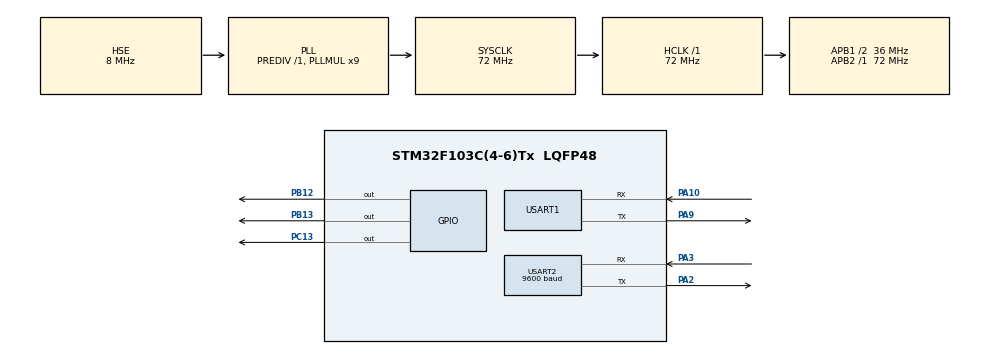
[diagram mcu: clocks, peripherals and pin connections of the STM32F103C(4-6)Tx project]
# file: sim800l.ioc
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Dma.Request0=USART2_TX
Dma.Request1=USART2_RX
Dma.Request2=USART1_RX
Dma.Request3=USART1_TX
Dma.USART1_RX.2.Direction=DMA_PERIPH_TO_MEMORY
Dma.USART1_RX.2.Instance=DMA1_Channel5
Dma.USART1_RX.2.MemDataAlignment=DMA_MDATAALIGN_BYTE
Dma.USART1_RX.2.MemInc=DMA_MINC_ENABLE
Dma.USART1_RX.2.Mode=DMA_NORMAL
Dma.USART1_RX.2.PeriphDataAlignment=DMA_PDATAALIGN_BYTE
Dma.USART1_RX.2.PeriphInc=DMA_PINC_DISABLE
Dma.USART1_RX.2.Priority=DMA_PRIORITY_LOW
Dma.USART1_TX.3.Direction=DMA_MEMORY_TO_PERIPH
Dma.USART1_TX.3.Instance=DMA1_Channel4
Dma.USART1_TX.3.MemDataAlignment=DMA_MDATAALIGN_BYTE
Dma.USART1_TX.3.MemInc=DMA_MINC_ENABLE
Dma.USART1_TX.3.Mode=DMA_NORMAL
Dma.USART1_TX.3.PeriphDataAlignment=DMA_PDATAALIGN_BYTE
Dma.USART1_TX.3.PeriphInc=DMA_PINC_DISABLE
Dma.USART1_TX.3.Priority=DMA_PRIORITY_LOW
Dma.USART2_RX.1.Direction=DMA_PERIPH_TO_MEMORY
Dma.USART2_RX.1.Instance=DMA1_Channel6
Dma.USART2_RX.1.MemDataAlignment=DMA_MDATAALIGN_BYTE
Dma.USART2_RX.1.MemInc=DMA_MINC_ENABLE
Dma.USART2_RX.1.Mode=DMA_NORMAL
Dma.USART2_RX.1.PeriphDataAlignment=DMA_PDATAALIGN_BYTE
Dma.USART2_RX.1.PeriphInc=DMA_PINC_DISABLE
Dma.USART2_RX.1.Priority=DMA_PRIORITY_LOW
Dma.USART2_TX.0.Direction=DMA_MEMORY_TO_PERIPH
Dma.USART2_TX.0.Instance=DMA1_Channel7
Dma.USART2_TX.0.MemDataAlignment=DMA_MDATAALIGN_BYTE
Dma.USART2_TX.0.MemInc=DMA_MINC_ENABLE
Dma.USART2_TX.0.Mode=DMA_NORMAL
Dma.USART2_TX.0.PeriphDataAlignment=DMA_PDATAALIGN_BYTE
Dma.USART2_TX.0.PeriphInc=DMA_PINC_DISABLE
Dma.USART2_TX.0.Priority=DMA_PRIORITY_LOW
Mcu.Family=STM32F1
Mcu.Name=STM32F103C(4-6)Tx
Mcu.Package=LQFP48
NVIC.DMA1_Channel4_IRQn=true\:0\:0\:false\:false\:true\:false\:true\:true
NVIC.DMA1_Channel5_IRQn=true\:0\:0\:false\:false\:true\:false\:true\:true
NVIC.DMA1_Channel6_IRQn=true\:0\:0\:false\:false\:true\:false\:true\:true
NVIC.DMA1_Channel7_IRQn=true\:0\:0\:false\:false\:true\:false\:true\:true
NVIC.PriorityGroup=NVIC_PRIORITYGROUP_4
NVIC.USART1_IRQn=true\:0\:0\:false\:false\:true\:true\:true\:true
NVIC.USART2_IRQn=true\:0\:0\:false\:false\:true\:true\:true\:true
PA10.Mode=Asynchronous
PA10.Signal=USART1_RX
PA13.Mode=Serial_Wire
PA13.Signal=SYS_JTMS-SWDIO
PA14.Mode=Serial_Wire
PA14.Signal=SYS_JTCK-SWCLK
PA2.Mode=Asynchronous
PA2.Signal=USART2_TX
PA3.Mode=Asynchronous
PA3.Signal=USART2_RX
PA9.Mode=Asynchronous
PA9.Signal=USART1_TX
PB12.GPIO_PuPd=GPIO_PULLDOWN
PB12.GPIO_Speed=GPIO_SPEED_FREQ_HIGH
PB12.Signal=GPIO_Output
PB13.GPIO_PuPd=GPIO_PULLDOWN
PB13.GPIO_Speed=GPIO_SPEED_FREQ_HIGH
PB13.Signal=GPIO_Output
PC13-TAMPER-RTC.GPIO_PuPd=GPIO_PULLDOWN
PC13-TAMPER-RTC.GPIO_Speed=GPIO_SPEED_FREQ_HIGH
PC13-TAMPER-RTC.Signal=GPIO_Output
PD0-OSC_IN.Mode=HSE-External-Oscillator
PD0-OSC_IN.Signal=RCC_OSC_IN
PD1-OSC_OUT.Mode=HSE-External-Oscillator
PD1-OSC_OUT.Signal=RCC_OSC_OUT
ProjectManager.HeapSize=0x200
ProjectManager.StackSize=0x400
ProjectManager.TargetToolchain=STM32CubeIDE
RCC.AHBFreq_Value=72000000
RCC.APB1CLKDivider=RCC_HCLK_DIV2
RCC.APB1Freq_Value=36000000
RCC.APB1TimFreq_Value=72000000
RCC.APB2Freq_Value=72000000
RCC.APB2TimFreq_Value=72000000
RCC.HCLKFreq_Value=72000000
RCC.PLLMUL=RCC_PLL_MUL9
RCC.PLLSourceVirtual=RCC_PLLSOURCE_HSE
RCC.SYSCLKFreq_VALUE=72000000
RCC.SYSCLKSource=RCC_SYSCLKSOURCE_PLLCLK
RCC.USBFreq_Value=72000000
USART1.VirtualMode=VM_ASYNC
USART2.BaudRate=9600
USART2.VirtualMode=VM_ASYNC
board=custom

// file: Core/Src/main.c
/* USER CODE BEGIN Header */
/**
  ******************************************************************************
  * @file           : main.c
  * @brief          : Main program body
  ******************************************************************************
  * @attention
  *
  * Copyright (c) 2024 STMicroelectronics.
  * All rights reserved.
  *
  * This software is licensed under terms that can be found in the LICENSE file
  * in the root directory of this software component.
  * If no LICENSE file comes with this software, it is provided AS-IS.
  *
  ******************************************************************************
  */
/* USER CODE END Header */
#include "main.h"

/* USER CODE BEGIN Includes */
//#include "cJSON.h"
//#include "ssd1306.h"
#include <stdio.h>
#include <stdbool.h>
#include <string.h>
uint8_t str[3]={"0"};
uint8_t str2[3]={"0"};
uint32_t timeRepeat = 0;
int stopStep = 0;
/* USER CODE END Includes */

UART_HandleTypeDef huart1;
UART_HandleTypeDef huart2;
DMA_HandleTypeDef hdma_usart1_rx;
DMA_HandleTypeDef hdma_usart1_tx;
DMA_HandleTypeDef hdma_usart2_tx;
DMA_HandleTypeDef hdma_usart2_rx;

void SystemClock_Config(void);
static void MX_GPIO_Init(void);
static void MX_DMA_Init(void);
static void MX_USART1_UART_Init(void);
static void MX_USART2_UART_Init(void);
/* USER CODE BEGIN PFP */
uint8_t modemString2[250];
int modemStringLength2 = 0;
uint8_t modemString1[250];
int modemStringLength1 = 0;
bool modemEndMess = false;
uint8_t oldModem[250];
uint8_t oldModem2[250];
uint8_t oldModem3[250];
uint8_t oldModem4[250];
uint8_t smsNum[6];
uint8_t unreedSms[15] = {0};
uint8_t smsText[250] = "Hello";
uint8_t csqlvl[5]="99";
uint8_t tnumber1[15] = "77777777777";
uint8_t tnumber2[15] = "77777777777";
uint8_t tnumber3[15] = "77777777777";
uint8_t backNumber[15] = "77777777777";
uint16_t *idBase0 = (uint16_t*)(UID_BASE);
uint16_t *idBase1 = (uint16_t*)(UID_BASE + 0x02);
uint32_t *idBase2 = (uint32_t*)(UID_BASE + 0x04);
uint32_t *idBase3 = (uint32_t*)(UID_BASE + 0x08);
uint8_t unicID[64] = {0,};
int step=0, rxNew = false;
bool ready=false;
bool answ = false, checkPhones = true, echoMode = false, errTransmit = false;
uint8_t bat[8];
bool needStart = false, needOpen = false, needClose = false, delayAnsw = false;
uint32_t timeOfStart = 0;
uint32_t timeRepeatTotal = 10*60*1000;

/* USER CODE END PFP */

/* USER CODE BEGIN 0 */

void s800LSend(uint8_t *text, int nums) {
	HAL_UART_Transmit(&huart2, text, nums, 0xFFFF);
	HAL_UART_Transmit(&huart2, (uint8_t*)"\r\n", 2, 0xFFFF);
	if (echoMode) {
		HAL_UART_Transmit(&huart1, text, nums, 0xFFFF);
		HAL_UART_Transmit(&huart1, (uint8_t*)"\r\n", 2, 0xFFFF);
	}
	return;
}

int s800lMessAdd(uint8_t* text) {
	int i = 0;
	for (i; i<250; i++) {
		if (text[i]=='!') return i;
	}
}

void buttStart() {
	HAL_GPIO_WritePin(GPIOC, GPIO_PIN_13, 0);
	HAL_GPIO_WritePin(GPIOB, GPIO_PIN_13, 0);
	HAL_Delay(3000);
	HAL_GPIO_WritePin(GPIOC, GPIO_PIN_13, 1);
	HAL_GPIO_WritePin(GPIOB, GPIO_PIN_13, 1);
}

void buttOpen() {
	HAL_GPIO_WritePin(GPIOC, GPIO_PIN_13, 0);
	for (int i = 0; i<5; i++) {
		HAL_GPIO_WritePin(GPIOC, GPIO_PIN_13, 0);
		HAL_Delay(100);
		HAL_GPIO_WritePin(GPIOC, GPIO_PIN_13, 1);
		HAL_Delay(100);
	}
	HAL_GPIO_WritePin(GPIOC, GPIO_PIN_13, 1);
	HAL_GPIO_WritePin(GPIOB, GPIO_PIN_13, 1);
}

void buttClose() {
	HAL_GPIO_WritePin(GPIOC, GPIO_PIN_12, 0);
	for (int i = 0; i<3; i++) {
		HAL_GPIO_WritePin(GPIOC, GPIO_PIN_13, 0);
		HAL_Delay(250);
		HAL_GPIO_WritePin(GPIOC, GPIO_PIN_13, 1);
		HAL_Delay(250);
	}
	HAL_GPIO_WritePin(GPIOC, GPIO_PIN_13, 1);
	HAL_GPIO_WritePin(GPIOB, GPIO_PIN_12, 1);
}

void txATcommand() {
	//HAL_Delay(500);
	switch (step) {
		case 0: {
			ready=false;
			s800LSend((uint8_t*)"ATE0", 4);
			HAL_UART_Transmit(&huart1, "start update\r\n", 14, 0xFFFF);
			break;
		}
		case 1: {
			ready=false;
			s800LSend((uint8_t*)"AT+CSQ", 6);
			break;
		}
		case 2: {
			ready=false;
			s800LSend((uint8_t*)"AT+CBC", 6);
			break;
		}
		case 3: {
			ready=false;
			s800LSend((uint8_t*)"AT+CREG?", 8);
			break;
		}
		case 4: {
			ready=false;
			s800LSend((uint8_t*)"AT+SAPBR=1,1", 12);
			HAL_Delay(2000);
			break;
		}
		case 5: {
			ready=false;
			s800LSend((uint8_t*)"AT+HTTPINIT", 11);
			break;
		}
		case 6: {
			ready=false;
			s800LSend((uint8_t*)"AT+HTTPPARA=\"CID\",1",19);
			break;
		}
		case 7: {
			ready=false;
			bat[7]=0;
			uint8_t ext[250];
			if ((answ)||(delayAnsw))
				sprintf(ext, "AT+HTTPPARA=\"URL\",\"http://simple.spamigor.ru/api/gst?csq=%s&bat=%s&mes=%s&id=%s\"", csqlvl, bat, smsText, unicID);
			else if (!checkPhones)
				sprintf(ext, "AT+HTTPPARA=\"URL\",\"http://simple.spamigor.ru/api/gst?csq=%s&bat=%s&id=%s\"", csqlvl, bat, unicID);
			else sprintf(ext, "AT+HTTPPARA=\"URL\",\"http://simple.spamigor.ru/api/phn?id=%s\"", unicID);
			delayAnsw = false;
			s800LSend(ext, strlen(ext));
			break;
		}
		case 8: {
			ready=false;
			s800LSend((uint8_t*)"AT+HTTPACTION=0",15);
			break;
		}
		case 9: {
			ready=false;
			s800LSend((uint8_t*)"AT+HTTPREAD",11);
			break;
		}
		case 10: {
			ready=false;
			s800LSend((uint8_t*)"AT+HTTPTERM",11);
			break;
		}
		case 11: {
			ready=false;
			s800LSend((uint8_t*)"AT+SAPBR=0,1", 12);
			break;
		}
		case 20: {
			ready = false;
			s800LSend((uint8_t*)"AT+CMGF=1", 9);
			break;
		}
		case 21: {
			ready=false;
			uint8_t ext[15];
			uint8_t at[] = "AT+CMGR=";
			snprintf(ext, 15, "%s%s", at, smsNum);
			s800LSend(ext, s800lMessAdd(ext));
			break;
		}
		case 22: {
			ready = false;
			s800LSend((uint8_t*)"AT+CMGDA=\"DEL ALL\"", 18);
			break;
		}
		case 23: {
			step=24;
			ready = true;
			uint8_t ext[23] = {0};
			sprintf(ext, "AT+CMGS=\"+%s\"", backNumber);
			s800LSend(ext, 22);
			break;
		}
		case 24: {
			ready = false;
			step=24;
			uint8_t ggg[20];
			sprintf(ggg, "%s%c", smsText, (uint8_t)0x1A);
			s800LSend(ggg, strlen(ggg));
			break;
		}
		case 99: {
			ready = true;
			s800LSend((uint8_t*)"AT+CFUN=1,1", 22);
			break;
		}
	}
	return;
}

void rxATcommand(uint8_t* text) {
	switch (step) {
		case 0: {
			if (strstr((char*)text, (char*)"OK")) {
				step++;
				ready=true;
			}
			else if (strstr((char*)text, (char*)"CMTI")) {
				step=20;
				ready=true;
			}
			else {
				step=0;
				ready=true;
			}
			break;
		}
		case 1: {
			if (strstr((char*)oldModem3, (char*)"CSQ")) {
				csqlvl[0]=oldModem3[6];
				csqlvl[1]=oldModem3[7];
				step++;
			}
			ready=true;
			break;
		}
		case 2: {
			if (strstr((char*)oldModem3, (char*)"CBC")) {
				bat[0]=oldModem3[8];
				bat[1]=oldModem3[9];
				bat[2]=oldModem3[10];
				bat[3]=oldModem3[11];
				bat[4]=oldModem3[12];
				bat[5]=oldModem3[13];
				bat[6]=oldModem3[14];
				bat[7]=oldModem3[15];
				step++;
			}
			ready=true;
			break;
		}
		case 3: {
			if (strstr((char*)oldModem3, (char*)"0,1")) step++;
			ready=true;
			break;
		}
		case 4: {
			if (strstr((char*)text, (char*)"OK")) step++;
			else if (strstr((char*)text, (char*)"ERROR")) {
				step=10;
				errTransmit = true;
			}
			ready=true;
			break;
		}
		case 5: {
			if (strstr((char*)text, (char*)"OK")) step++;
			else if (strstr((char*)text, (char*)"ERROR")) {
				step=10;
				errTransmit = true;
			}
			ready=true;
			break;
		}
		case 6: {
			if (strstr((char*)text, (char*)"OK")) step++;
			else {
				step=10;
				errTransmit = true;
			}
			ready=true;
			break;
		}
		case 7: {
			if (strstr((char*)text, (char*)"OK")) step++;
			else {
				step=10;
				errTransmit = true;
			}
			ready=true;
			break;
		}
		case 8: {
			ready=true;
			if (strstr((char*)text, (char*)"200")) step++;
			else if (strstr((char*)text, (char*)"0,60")) step=99;
			else if ((strstr((char*)text, (char*)"0,40"))||
					(strstr((char*)text, (char*)"0,50"))) {
				step=10;
				errTransmit = true;
			}
			else ready=false;
			break;
		}
		case 9: {
			if (!answ) {
				if (strstr((char*)text, (char*)"OK")) {
					if (checkPhones) {
						if (strstr((char*)oldModem2, (char*)"t1"))
							for (int i = 0; i<11; i++) tnumber1[i] = oldModem2[i+7];
						if (strstr((char*)oldModem2, (char*)"t2"))
							for (int i = 0; i<11; i++) tnumber2[i] = oldModem2[i+26];
						if (strstr((char*)oldModem2, (char*)"t3"))
							for (int i = 0; i<11; i++) tnumber3[i] = oldModem2[i+45];
						checkPhones = false;
					}
					else if (strstr((char*)oldModem2, "phones")) {
						checkPhones = true;
						answ = false;
					}
					else if (strstr((char*)oldModem2, "res")) {
						needStart = false;
						needOpen = false;
						needClose = false;
						if (strstr((char*)oldModem2, ",\"delT\":")) {
						    uint8_t *start;
						    uint8_t *end;
						    uint8_t str1 [8]=",\"res\"";
						    uint8_t str2 [8]="\"delT\":";
						    start = strstr (oldModem2,str2);
						    end = strstr (oldModem2,str1);
						    uint8_t delTime[10] = {0};
							int j = 0;
							for (int i = (start-oldModem2)+7; i<(end-oldModem2); i++) {
								delTime[j]=oldModem2[i];
								j++;
							}
							timeOfStart = atoi(delTime);
						}
						if (oldModem2[6]=='t') {
							memset(smsText, 0, strlen(smsText));
							if (timeOfStart==0) {
								buttStart();
								answ = false;
								strcpy(smsText, (uint8_t*)"%D0%97%D0%B0%D0%BF%D1%83%D1%81%D0%BA");
							}
							else {
								if (!needStart) strcpy(smsText, (uint8_t*)"%D0%97%D0%B0%D0%BF%D1%83%D1%81%D1%82%D0%B8%D1%82%D1%8C%20%D0%BF%D0%BE%D0%B7%D0%B6%D0%B5");
								needStart = true;
								needOpen = false;
								needClose = false;
								answ = true;
							}
						}
						else if (oldModem2[17]=='t') {
							memset(smsText, 0, strlen(smsText));
							if (timeOfStart==0) {
								buttOpen();
								answ = false;
								strcpy(smsText, (uint8_t*)"%D0%9E%D1%82%D0%BA%D1%80%D1%8B%D1%82%D1%8C");
							}
							else {
								if (!needOpen) strcpy(smsText, (uint8_t*)"%D0%9E%D1%82%D0%BA%D1%80%D1%8B%D1%82%D1%8C%20%D0%BF%D0%BE%D0%B7%D0%B6%D0%B5");
								needStart = false;
								needOpen = true;
								needClose = false;
								answ = true;
							}
						}
						else if (oldModem2[28]=='t') {
							memset(smsText, 0, strlen(smsText));
							if (timeOfStart==0) {
								buttClose();
								answ = false;
								strcpy(smsText, (uint8_t*)"%D0%97%D0%B0%D0%BA%D1%80%D1%8B%D1%82%D1%8C");
							}
							else {
								if (!needClose) strcpy(smsText, (uint8_t*)"%D0%97%D0%B0%D0%BA%D1%80%D1%8B%D1%82%D1%8C%20%D0%BF%D0%BE%D0%B7%D0%B6%D0%B5");
								needStart = false;
								needOpen = false;
								needClose = true;
								answ = true;
							}
						}
					}
					step=7;
				}
				else {
					step=10;
					answ = false;
					errTransmit = true;
				}
				ready=true;
			}
			else {
				if (strstr((char*)text, (char*)"OK")) step++;
				else {
					step=10;
					errTransmit = true;
				}
				answ = false;
				ready=true;
				memset(smsText, 0, strlen(smsText));
			}
			break;
		}
		case 10: {
			if (strstr((char*)text, (char*)"OK")) step=11;
			else if (strstr((char*)text, (char*)"ERROR")) step=11;
			ready=true;
			break;
		}
		case 11: {
			if (strstr((char*)text, (char*)"OK")) {
				step=12;
				if (errTransmit) step = 0;
			}
			else step=0;
			errTransmit = false;
			ready=true;
			break;
		}
		case 12: {
			if (strstr((char*)text, (char*)"CMTI")) {
				bool start = false;
				int j = 0;
				for (int i = 0; i<250; i++) {
					if (start) {
						if ((text[i]=='\r')||(text[i]=='\n')||(text[i]=='\0')) {
							smsNum[j]='!';  //стоп-символ
							break;
						}
						else {
							smsNum[j]=text[i];
							j++;
						}
					}
					else if (text[i]==',') start = true;
				}
				step=20;
			}
			else step=12;
			ready=true;
			break;
		}
		case 20: {
			if (strstr((char*)text, (char*)"OK")) step++;
			else step=12;
			ready=true;
			break;
		}
		case 21: {
			memset(smsText, 0, sizeof(smsText));
			strcpy(smsText, oldModem3);
			bool numberCorrect = false;
			if (strstr((char*)oldModem4, (char*)tnumber1)) {
				numberCorrect=true;
				sprintf(backNumber, "%s", tnumber1);
			}
			else if (strstr((char*)oldModem4, (char*)tnumber2)) {
				numberCorrect=true;
				sprintf(backNumber, "%s", tnumber2);
			}
			else if (strstr((char*)oldModem4, (char*)tnumber3)) {
				numberCorrect=true;
				sprintf(backNumber, "%s", tnumber3);
			}
			if (numberCorrect) {
				if (strstr(oldModem3, "tart")) {
					buttStart();
				}
				else if (strstr(oldModem3, "pen")) {
					buttOpen();
				}
				else if (strstr(oldModem3, "lose")) {
					buttClose();
				}
				step++;
			}
			else {
				step = 0;
				strncat(smsText, (uint8_t*)"-stranger", 9);
			}
			ready=true;
			break;
		}
		case 22: {
			step++;
			ready=true;
			break;
		}
		case 23: {
			step++;
			ready=true;
			break;
		}
		case 24: {
			if (strstr((char*)text, (char*)"OK")) {
				if (stopStep==12) step=0;
				else step=stopStep;
			}
			else if (strstr((char*)text, (char*)">")) {
				if (stopStep==12) step=0;
				else step=stopStep;
			}
			else {
				step=12;
			}
			ready=true;
			break;
		}
		case 99: {
			if (strstr((char*)text, (char*)"OK")) {
				step=0;
				ready=true;
			}
			else ready = true;
			break;
		}
	}
}

void HAL_UART_RxCpltCallback(UART_HandleTypeDef *huart) {
	if (huart == &huart2) {
		if (str[0]!='\n') {
			modemString2[modemStringLength2] = str[0];
			modemStringLength2++;
		}
		else {
			modemString2[modemStringLength2] = str[0];
			modemStringLength2++;
			if (echoMode) HAL_UART_Transmit_DMA(&huart1, modemString2, modemStringLength2);
			for (int i = modemStringLength2; i<250; i++)modemString2[i]=(uint8_t)0x00;
			for (int i = 0; i<250; i++) oldModem4[i] = oldModem3[i];
			for (int i = 0; i<250; i++) oldModem3[i] = oldModem2[i];
			for (int i = 0; i<250; i++) oldModem2[i] = oldModem[i];
			for (int i = 0; i<250; i++) oldModem[i] = modemString2[i];
			modemStringLength2 = 0;
			oldModem[strlen(oldModem)-1]=0;
			oldModem[strlen(oldModem)-1]=0;
			rxNew=true;
		}
		HAL_UART_Receive_IT(&huart2,str,1);
	}
	else {
		if (str2[0]!='\n') {
			modemString1[modemStringLength1] = str2[0];
			modemStringLength1++;
		}
		else {
			modemString1[modemStringLength1] = str2[0];
			modemStringLength1++;
			if (strstr((char*)modemString1, (char*)"echoON")) {
				echoMode = true;
				HAL_UART_Transmit_DMA(&huart1, (uint8_t*)"echo mode ON\r\n", 14);
			}
			else if (strstr((char*)modemString1, (char*)"echoOFF")) {
				echoMode = false;
				HAL_UART_Transmit_DMA(&huart1, (uint8_t*)"echo mode OFF\r\n", 14);
			}
			else if (strstr((char*)modemString1, (char*)"gprs")) {
				timeRepeat = 0;
				HAL_UART_Transmit_DMA(&huart1, (uint8_t*)"update start\r\n", 14);
			}
			else if (strstr((char*)modemString1, (char*)"timeDelay")) {
				timeRepeat = 0;
				uint8_t buf[10] = {0};
			    for (int i = 10; i<modemStringLength1-2; i++) buf[i-10] = modemString1[i];
			    uint32_t a = atoi(buf);
			    if (a<(2*60*1000)) a = 120000;
			    timeRepeatTotal = a;
				HAL_UART_Transmit_DMA(&huart1, (uint8_t*)"new delay set\r\n", 15);
			}
			else if (echoMode) HAL_UART_Transmit_DMA(&huart2, modemString1, modemStringLength1);
			modemStringLength1 = 0;
		}
		HAL_UART_Receive_IT(&huart1,str2,1);
	}
}
/* USER CODE END 0 */

int main(void)
{

  /* MCU Configuration--------------------------------------------------------*/

  /* Reset of all peripherals, Initializes the Flash interface and the Systick. */
  HAL_Init();

  /* USER CODE BEGIN Init */

  sprintf(unicID, "%x-%x-%lx-%lx", *idBase0, *idBase1, *idBase2, *idBase3);
  /* USER CODE END Init */

  /* Configure the system clock */
  SystemClock_Config();

  /* Initialize all configured peripherals */
  MX_GPIO_Init();
  MX_DMA_Init();
  MX_USART1_UART_Init();
  MX_USART2_UART_Init();
  /* USER CODE BEGIN 2 */
  /*SSD1306_Init();
  SSD1306_GotoXY(0, 44); //Устанавливаем курсор в позицию 0;44. Сначала по горизонтали, потом вертикали.
  SSD1306_Puts("Hello, habrahabr!!", &Font_7x10, SSD1306_COLOR_WHITE); //пишем надпись в выставленной позиции шрифтом "Font_7x10" белым цветом.
  SSD1306_DrawCircle(10, 33, 7, SSD1306_COLOR_WHITE);
  SSD1306_UpdateScreen();*/
  for (int i = 0; i<10; i++) {
	  HAL_GPIO_TogglePin(GPIOC, GPIO_PIN_13);
	  HAL_Delay(250);
  }

  HAL_UART_Transmit(&huart1,(uint8_t*)"start\r\n",7,0xFFFF);
  HAL_UART_Transmit(&huart1,(uint8_t*)"echoON - for echo mode\r\n",24,0xFFFF);
  HAL_UART_Transmit(&huart1,(uint8_t*)"echoOFF - for normal mode\r\n",27,0xFFFF);
  HAL_UART_Transmit(&huart1,(uint8_t*)"gprs - gprs update\r\n",20,0xFFFF);
  HAL_UART_Transmit(&huart1,(uint8_t*)"timeDelay:XXXXXXX\r\n",19,0xFFFF);
  HAL_UART_Transmit(&huart2,(uint8_t*)"AT\r\n",8,0xFFFF);

  HAL_UART_Receive_IT(&huart2,str,1);

  HAL_Delay(2000);
  ready=true;

  timeRepeat = HAL_GetTick();
  int lightTime = 0;
  uint32_t oldTick = 0;
  uint32_t deltaTick = 0;
  HAL_UART_Receive_IT(&huart1,str2,1);
  HAL_GPIO_WritePin(GPIOC, GPIO_PIN_13, 1);
  /* USER CODE END 2 */

  /* Infinite loop */
  while (1)
  {

    /* USER CODE BEGIN 3 */
	  if (oldTick!=0) {
		  uint32_t newTick = HAL_GetTick();
		  deltaTick = newTick-oldTick;
	  }
	  oldTick = HAL_GetTick();
	  if ((timeOfStart!=0)&&(deltaTick!=0)) {
		  if (timeOfStart>deltaTick) timeOfStart = timeOfStart - deltaTick;
		  else timeOfStart = 0;
	  }
	  if (ready||
			  ((HAL_GetTick()-timeRepeat)>(timeRepeatTotal*2.5))||
			  (((HAL_GetTick()-timeRepeat)>(10*1000))&&(step==0))||
			  ((timeOfStart<(10*1000))&&(needStart||needOpen||needClose))) {
		  txATcommand();
		  if ((((HAL_GetTick()-timeRepeat)>timeRepeatTotal)&&(step==12))||
				  ((HAL_GetTick()-timeRepeat)>(timeRepeatTotal*2.5))||
				  (((HAL_GetTick()-timeRepeat)>(10*1000))&&(step==0))){
			  step = 0;
			  timeRepeat = HAL_GetTick();
			  txATcommand();
		  }
		  else if ((timeOfStart<(10*1000))&&(needStart||needOpen||needClose)) {
			  if (needStart) {
				  buttStart();
				memset(smsText, 0, strlen(smsText));
				strcpy(smsText, (uint8_t*)"%D0%97%D0%B0%D0%BF%D1%83%D1%81%D0%BA");//Запуск
			  }
			  else if (needOpen) {
				  buttOpen();
				memset(smsText, 0, strlen(smsText));
				strcpy(smsText, (uint8_t*)"%D0%9E%D1%82%D0%BA%D1%80%D1%8B%D1%82%D1%8C");//Открыть
			  }
			  else if (needClose) {
				  buttClose();
				memset(smsText, 0, strlen(smsText));
				strcpy(smsText, (uint8_t*)"%D0%97%D0%B0%D0%BA%D1%80%D1%8B%D1%82%D1%8C");//Закрыть
			  }
			  step = 0;
			  timeOfStart = 0;
			  needStart = false; needOpen = false; needClose = false; delayAnsw = true;
			  txATcommand();
		  }
		  else if (step!=12) timeRepeat = HAL_GetTick();
		  if ((HAL_GetTick()-lightTime)>(30*1000)) {
			  lightTime = HAL_GetTick();
			  HAL_GPIO_TogglePin(GPIOC, GPIO_PIN_13);
			  HAL_Delay(100);
			  HAL_GPIO_TogglePin(GPIOC, GPIO_PIN_13);
		  }
	  }
	  if (strstr(modemString2, "\r\n")) {
		/*if (!strstr(modemString2, "OK")) {
			SSD1306_Fill(SSD1306_COLOR_BLACK);
			SSD1306_GotoXY(0, 10);
			SSD1306_Puts(oldModem3, &Font_7x10, SSD1306_COLOR_WHITE);
			SSD1306_GotoXY(0, 25);
			SSD1306_Puts(oldModem2, &Font_7x10, SSD1306_COLOR_WHITE);
			SSD1306_GotoXY(0, 40);
			SSD1306_Puts(oldModem, &Font_7x10, SSD1306_COLOR_WHITE);
			SSD1306_UpdateScreen();
		}*/
		if (rxNew) {
			if (strstr(oldModem, "+CMTI")) {
				stopStep = step;
				step = 12;
				rxATcommand(oldModem);
			}
			else if ((step==1))
				rxATcommand(oldModem3);
			else rxATcommand(oldModem);
			rxNew = false;
		}
	  }
	 if (step==12) HAL_Delay(1000);
	 else HAL_Delay(250);

	  //HAL_UART_Transmit(&huart1,modemString,10,0xFFFF);
	  //HAL_GPIO_TogglePin(GPIOC, GPIO_PIN_13);
  }
  /* USER CODE END 3 */
}

void SystemClock_Config(void)
{
  RCC_OscInitTypeDef RCC_OscInitStruct = {0};
  RCC_ClkInitTypeDef RCC_ClkInitStruct = {0};

  /** Initializes the RCC Oscillators according to the specified parameters
  * in the RCC_OscInitTypeDef structure.
  */
  RCC_OscInitStruct.OscillatorType = RCC_OSCILLATORTYPE_HSE;
  RCC_OscInitStruct.HSEState = RCC_HSE_ON;
  RCC_OscInitStruct.HSEPredivValue = RCC_HSE_PREDIV_DIV1;
  RCC_OscInitStruct.HSIState = RCC_HSI_ON;
  RCC_OscInitStruct.PLL.PLLState = RCC_PLL_ON;
  RCC_OscInitStruct.PLL.PLLSource = RCC_PLLSOURCE_HSE;
  RCC_OscInitStruct.PLL.PLLMUL = RCC_PLL_MUL9;
  if (HAL_RCC_OscConfig(&RCC_OscInitStruct) != HAL_OK)
  {
    Error_Handler();
  }

  /** Initializes the CPU, AHB and APB buses clocks
  */
  RCC_ClkInitStruct.ClockType = RCC_CLOCKTYPE_HCLK|RCC_CLOCKTYPE_SYSCLK
                              |RCC_CLOCKTYPE_PCLK1|RCC_CLOCKTYPE_PCLK2;
  RCC_ClkInitStruct.SYSCLKSource = RCC_SYSCLKSOURCE_PLLCLK;
  RCC_ClkInitStruct.AHBCLKDivider = RCC_SYSCLK_DIV1;
  RCC_ClkInitStruct.APB1CLKDivider = RCC_HCLK_DIV2;
  RCC_ClkInitStruct.APB2CLKDivider = RCC_HCLK_DIV1;

  if (HAL_RCC_ClockConfig(&RCC_ClkInitStruct, FLASH_LATENCY_2) != HAL_OK)
  {
    Error_Handler();
  }
}

static void MX_USART1_UART_Init(void)
{

  huart1.Instance = USART1;
  huart1.Init.BaudRate = 115200;
  huart1.Init.WordLength = UART_WORDLENGTH_8B;
  huart1.Init.StopBits = UART_STOPBITS_1;
  huart1.Init.Parity = UART_PARITY_NONE;
  huart1.Init.Mode = UART_MODE_TX_RX;
  huart1.Init.HwFlowCtl = UART_HWCONTROL_NONE;
  huart1.Init.OverSampling = UART_OVERSAMPLING_16;
  if (HAL_UART_Init(&huart1) != HAL_OK)
  {
    Error_Handler();
  }

}

static void MX_USART2_UART_Init(void)
{

  huart2.Instance = USART2;
  huart2.Init.BaudRate = 9600;
  huart2.Init.WordLength = UART_WORDLENGTH_8B;
  huart2.Init.StopBits = UART_STOPBITS_1;
  huart2.Init.Parity = UART_PARITY_NONE;
  huart2.Init.Mode = UART_MODE_TX_RX;
  huart2.Init.HwFlowCtl = UART_HWCONTROL_NONE;
  huart2.Init.OverSampling = UART_OVERSAMPLING_16;
  if (HAL_UART_Init(&huart2) != HAL_OK)
  {
    Error_Handler();
  }

}

static void MX_DMA_Init(void)
{

  /* DMA controller clock enable */
  __HAL_RCC_DMA1_CLK_ENABLE();

  /* DMA interrupt init */
  /* DMA1_Channel4_IRQn interrupt configuration */
  HAL_NVIC_SetPriority(DMA1_Channel4_IRQn, 0, 0);
  HAL_NVIC_EnableIRQ(DMA1_Channel4_IRQn);
  /* DMA1_Channel5_IRQn interrupt configuration */
  HAL_NVIC_SetPriority(DMA1_Channel5_IRQn, 0, 0);
  HAL_NVIC_EnableIRQ(DMA1_Channel5_IRQn);
  /* DMA1_Channel6_IRQn interrupt configuration */
  HAL_NVIC_SetPriority(DMA1_Channel6_IRQn, 0, 0);
  HAL_NVIC_EnableIRQ(DMA1_Channel6_IRQn);
  /* DMA1_Channel7_IRQn interrupt configuration */
  HAL_NVIC_SetPriority(DMA1_Channel7_IRQn, 0, 0);
  HAL_NVIC_EnableIRQ(DMA1_Channel7_IRQn);

}

static void MX_GPIO_Init(void)
{
  GPIO_InitTypeDef GPIO_InitStruct = {0};

  /* GPIO Ports Clock Enable */
  __HAL_RCC_GPIOC_CLK_ENABLE();
  __HAL_RCC_GPIOD_CLK_ENABLE();
  __HAL_RCC_GPIOA_CLK_ENABLE();
  __HAL_RCC_GPIOB_CLK_ENABLE();

  /*Configure GPIO pin Output Level */
  HAL_GPIO_WritePin(GPIOC, GPIO_PIN_13, GPIO_PIN_RESET);

  /*Configure GPIO pin Output Level */
  HAL_GPIO_WritePin(GPIOB, GPIO_PIN_12|GPIO_PIN_13, GPIO_PIN_RESET);

  /*Configure GPIO pin : PC13 */
  GPIO_InitStruct.Pin = GPIO_PIN_13;
  GPIO_InitStruct.Mode = GPIO_MODE_OUTPUT_PP;
  GPIO_InitStruct.Pull = GPIO_PULLDOWN;
  GPIO_InitStruct.Speed = GPIO_SPEED_FREQ_HIGH;
  HAL_GPIO_Init(GPIOC, &GPIO_InitStruct);

  /*Configure GPIO pins : PB12 PB13 */
  GPIO_InitStruct.Pin = GPIO_PIN_12|GPIO_PIN_13;
  GPIO_InitStruct.Mode = GPIO_MODE_OUTPUT_PP;
  GPIO_InitStruct.Pull = GPIO_PULLDOWN;
  GPIO_InitStruct.Speed = GPIO_SPEED_FREQ_HIGH;
  HAL_GPIO_Init(GPIOB, &GPIO_InitStruct);

}

void Error_Handler(void)
{
  __disable_irq();
  while (1)
  {
  }
}
